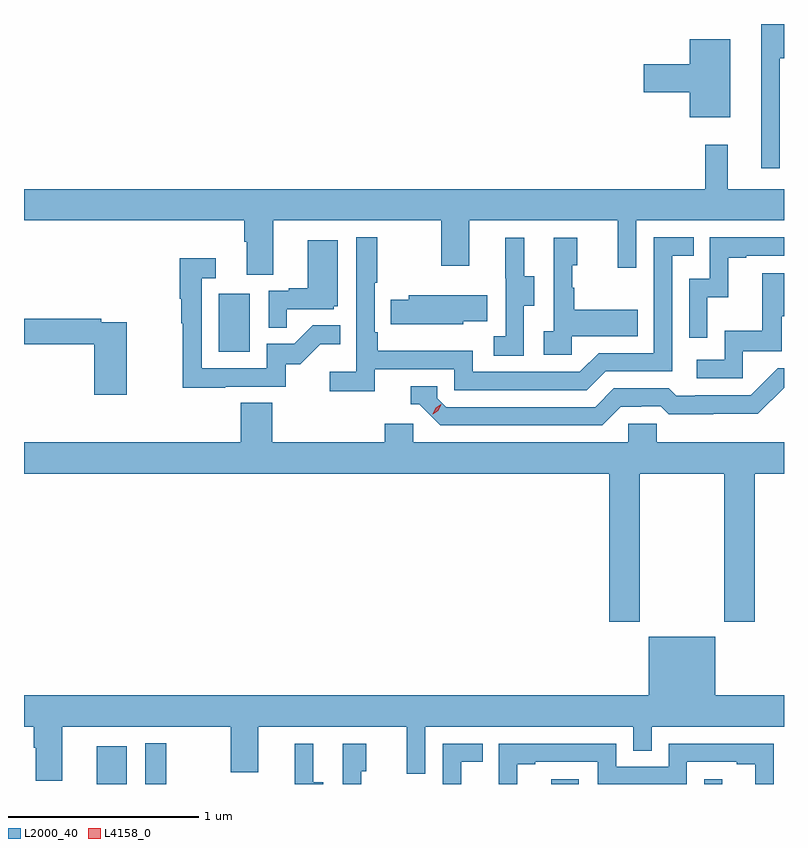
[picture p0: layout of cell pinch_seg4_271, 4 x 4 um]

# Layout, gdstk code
import gdstk
lib = gdstk.Library(unit=1e-6, precision=1e-09)
def R(c, l, rs):  # rectangles x0, y0, x1, y1
    for r in rs: c.add(gdstk.rectangle(r[:2], r[2:], *l))
def P(c, l, *ps):  # polygons
    for p in ps: c.add(gdstk.Polygon(p, *l))
L2000_40 = (2000, 40)
L4158_0 = (4158, 0)

pinch_seg4_271 = lib.new_cell('pinch_seg4_271')
R(pinch_seg4_271, L2000_40, [(939.236,824.49,939.394,824.689), (939.492,824.49,939.601,824.704), (941.629,824.49,941.773,824.515), (942.432,824.49,942.529,824.515), (939.878,826.764,940.042,827.071)])
P(pinch_seg4_271, L2000_40, [(942.831,828.311),(942.853,828.311),(942.853,828.49),(942.734,828.49),(942.734,827.73),(942.831,827.73)],
  [(942.571,828.409),(942.356,828.409),(942.356,828.278),(942.114,828.278),(942.114,828.131),(942.356,828.131),(942.356,827.999),(942.571,827.999)],
  [(940.165,827.456),(941.05,827.456),(941.05,827.217),(941.197,827.217),(941.197,827.456),(941.978,827.456),(941.978,827.208),(942.075,827.208),(942.075,827.456),(942.853,827.456),(942.853,827.62),(942.557,827.62),(942.557,827.854),(942.439,827.854),(942.439,827.62),(938.853,827.62),(938.853,827.456),(940.013,827.456),(940.013,827.344),(940.025,827.344),(940.025,827.17),(940.165,827.17)],
  [(940.7,826.674),(941.118,826.674),(941.118,826.563),(941.815,826.563),(941.914,826.662),(942.264,826.662),(942.264,827.271),(942.377,827.271),(942.377,827.367),(942.168,827.367),(942.168,826.758),(941.877,826.758),(941.778,826.659),(941.214,826.659),(941.214,826.771),(940.715,826.771),(940.715,826.867),(940.698,826.867),(940.698,827.128),(940.711,827.128),(940.711,827.368),(940.602,827.368),(940.602,826.66),(940.461,826.66),(940.461,826.558),(940.7,826.558)],
  [(942.45,827.051),(942.56,827.051),(942.56,827.259),(942.655,827.259),(942.655,827.271),(942.853,827.271),(942.853,827.367),(942.462,827.367),(942.462,827.148),(942.354,827.148),(942.354,826.839),(942.45,826.839)],
  [(941.484,827.008),(941.539,827.008),(941.539,827.163),(941.485,827.163),(941.485,827.365),(941.387,827.365),(941.387,827.151),(941.388,827.151),(941.388,826.847),(941.325,826.847),(941.325,826.744),(941.484,826.744)],
  [(941.736,826.847),(942.083,826.847),(942.083,826.987),(941.749,826.987),(941.749,827.102),(941.739,827.102),(941.739,827.22),(941.764,827.22),(941.764,827.365),(941.64,827.365),(941.64,826.874),(941.589,826.874),(941.589,826.749),(941.736,826.749)],
  [(940.235,826.989),(940.482,826.989),(940.482,827.004),(940.504,827.004),(940.504,827.353),(940.346,827.353),(940.346,827.098),(940.247,827.098),(940.247,827.085),(940.14,827.085),(940.14,826.891),(940.235,826.891)],
  [(939.911,826.581),(940.23,826.581),(940.23,826.698),(940.306,826.698),(940.413,826.805),(940.517,826.805),(940.517,826.904),(940.373,826.904),(940.275,826.806),(940.131,826.806),(940.131,826.677),(939.789,826.677),(939.789,827.151),(939.862,827.151),(939.862,827.257),(939.673,827.257),(939.673,827.044),(939.681,827.044),(939.681,826.914),(939.688,826.914),(939.688,826.576),(939.911,826.576)],
  [(942.636,826.767),(942.841,826.767),(942.841,826.953),(942.853,826.953),(942.853,827.179),(942.739,827.179),(942.739,826.876),(942.54,826.876),(942.54,826.722),(942.393,826.722),(942.393,826.626),(942.636,826.626)],
  [(941.166,826.925),(941.291,826.925),(941.291,827.062),(940.877,827.062),(940.877,827.04),(940.783,827.04),(940.783,826.911),(940.894,826.911),(940.894,826.91),(941.166,826.91)],
  [(939.394,826.92),(939.26,826.92),(939.26,826.94),(938.853,826.94),(938.853,826.804),(939.224,826.804),(939.224,826.539),(939.394,826.539)],
  [(941.995,826.476),(942.102,826.476),(942.102,826.479),(942.205,826.479),(942.247,826.437),(942.48,826.437),(942.48,826.439),(942.716,826.439),(942.853,826.576),(942.853,826.677),(942.819,826.677),(942.678,826.536),(942.385,826.536),(942.385,826.533),(942.286,826.533),(942.247,826.572),(941.958,826.572),(941.859,826.473),(941.076,826.473),(941.028,826.521),(941.028,826.584),(940.889,826.584),(940.889,826.488),(940.932,826.488),(941.043,826.377),(941.896,826.377)],
  [(942.093,826.124),(942.538,826.124),(942.538,825.345),(942.698,825.345),(942.698,826.124),(942.853,826.124),(942.853,826.288),(942.183,826.288),(942.183,826.386),(942.033,826.386),(942.033,826.288),(940.902,826.288),(940.902,826.386),(940.751,826.386),(940.751,826.288),(940.16,826.288),(940.16,826.496),(939.995,826.496),(939.995,826.288),(938.853,826.288),(938.853,826.124),(941.933,826.124),(941.933,825.345),(942.093,825.345)],
  [(939.055,824.792),(939.94,824.792),(939.94,824.553),(940.087,824.553),(940.087,824.792),(940.868,824.792),(940.868,824.544),(940.965,824.544),(940.965,824.792),(942.06,824.792),(942.06,824.665),(942.156,824.665),(942.156,824.792),(942.853,824.792),(942.853,824.956),(942.49,824.956),(942.49,825.265),(942.14,825.265),(942.14,824.956),(938.853,824.956),(938.853,824.792),(938.903,824.792),(938.903,824.68),(938.915,824.68),(938.915,824.506),(939.055,824.506)],
  [(941.154,824.607),(941.267,824.607),(941.267,824.703),(941.058,824.703),(941.058,824.49),(941.154,824.49)],
  [(941.45,824.595),(941.545,824.595),(941.545,824.607),(941.874,824.607),(941.874,824.49),(942.342,824.49),(942.342,824.607),(942.605,824.607),(942.605,824.595),(942.701,824.595),(942.701,824.49),(942.798,824.49),(942.798,824.703),(942.246,824.703),(942.246,824.58),(941.97,824.58),(941.97,824.703),(941.352,824.703),(941.352,824.49),(941.45,824.49)],
  [(940.629,824.556),(940.654,824.556),(940.654,824.701),(940.53,824.701),(940.53,824.49),(940.629,824.49)],
  [(940.429,824.499),(940.375,824.499),(940.375,824.701),(940.277,824.701),(940.277,824.49),(940.429,824.49)])
P(pinch_seg4_271, L4158_0, [(941.004,826.436),(941.004,826.436),(941.02,826.469),(941.05,826.488),(941.05,826.488),(941.05,826.488),(941.034,826.455),(941.004,826.436)])

lib.write_gds('pinch_seg4_271.gds')
